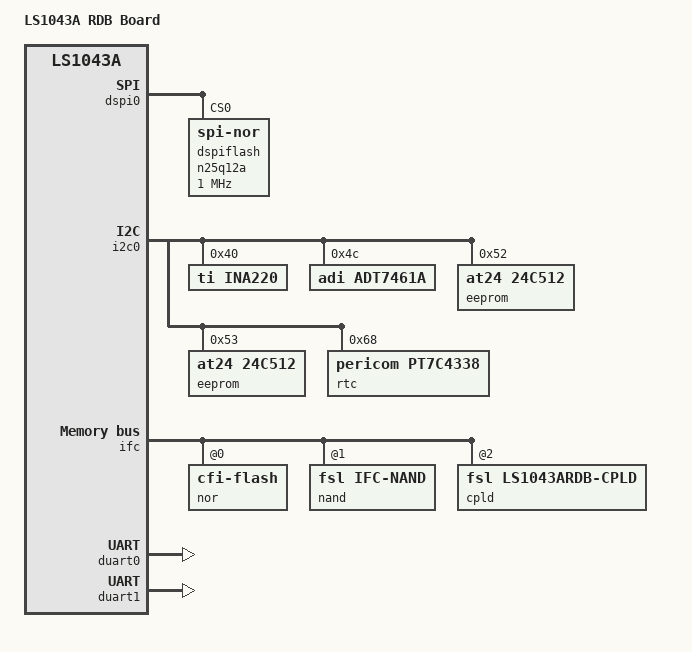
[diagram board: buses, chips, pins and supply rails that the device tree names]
// SPDX-License-Identifier: GPL-2.0+ OR X11
/*
 * Device Tree Include file for Freescale Layerscape-1043A family SoC.
 *
 * Copyright (C) 2015, Freescale Semiconductor
 *
 * Mingkai Hu <Mingkai.hu@freescale.com>
 */

/dts-v1/;
/include/ "fsl-ls1043a.dtsi"

/ {
	model = "LS1043A RDB Board";

        aliases {
		spi1 = &dspi0;
        };

};

&dspi0 {
	bus-num = <0>;
	status = "okay";

	dspiflash: n25q12a {
		#address-cells = <1>;
		#size-cells = <1>;
		compatible = "jedec,spi-nor";
		reg = <0>;
		spi-max-frequency = <1000000>; /* input clock */
	};

};

&i2c0 {
	status = "okay";
	ina220@40 {
		compatible = "ti,ina220";
		reg = <0x40>;
		shunt-resistor = <1000>;
	};
	adt7461a@4c {
		compatible = "adi,adt7461a";
		reg = <0x4c>;
	};
	eeprom@52 {
		compatible = "at24,24c512";
		reg = <0x52>;
	};

	eeprom@53 {
		compatible = "at24,24c512";
		reg = <0x53>;
	};

	rtc@68 {
		compatible = "pericom,pt7c4338";
		reg = <0x68>;
	};
};

&ifc {
	status = "okay";
	#address-cells = <2>;
	#size-cells = <1>;
	/* NOR, NAND Flashes and FPGA on board */
	ranges = <0x0 0x0 0x0 0x60000000 0x08000000
		  0x1 0x0 0x0 0x7e800000 0x00010000
		  0x2 0x0 0x0 0x7fb00000 0x00000100>;

		nor@0,0 {
			compatible = "cfi-flash";
			#address-cells = <1>;
			#size-cells = <1>;
			reg = <0x0 0x0 0x8000000>;
			bank-width = <2>;
			device-width = <1>;
		};

		nand@1,0 {
			compatible = "fsl,ifc-nand";
			#address-cells = <1>;
			#size-cells = <1>;
			reg = <0x1 0x0 0x10000>;
		};

		cpld: board-control@2,0 {
			compatible = "fsl,ls1043ardb-cpld";
			reg = <0x2 0x0 0x0000100>;
		};
};

&duart0 {
	status = "okay";
};

&duart1 {
	status = "okay";
};
